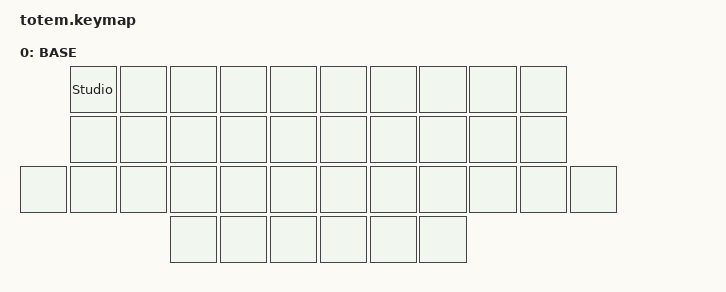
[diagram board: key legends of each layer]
// TOTEM Gallium layout — ported from RMK firmware (keymap.rs + behavior.rs)
// Home row mods (GACS), combos, mod-morphs, macro, mouse keys, caps word
// ── Mouse speed tuning ──────────────────────────────────────────────

#define MOUSE_TIME_TO_MAX_SPEED 800
#define U_MOUSE_MOVE_MAX 3000
#define U_MOUSE_SCROLL_MAX 20

// Must precede pointing.h so the defaults are overridden

#define ZMK_POINTING_DEFAULT_MOVE_VAL U_MOUSE_MOVE_MAX
#define ZMK_POINTING_DEFAULT_SCRL_VAL U_MOUSE_SCROLL_MAX

#include <behaviors.dtsi>
#include <dt-bindings/zmk/bt.h>
#include <dt-bindings/zmk/keys.h>
#include <dt-bindings/zmk/outputs.h>
#include <dt-bindings/zmk/pointing.h>

#define BASE   0
#define SYM    1
#define NAV    2
#define HYPR   3
#define BT     4
#define NUM    5
#define EXTRA  6

// Key position groups for reference:
//          0  1  2  3  4     5  6  7  8  9       <- top
//         10 11 12 13 14    15 16 17 18 19       <- home
//    20   21 22 23 24 25    26 27 28 29 30   31  <- bottom + side
//                   32 33 34    35 36 37          <- thumbs

#define KEYS_L 0 1 2 3 4 10 11 12 13 14 20 21 22 23 24 25
#define KEYS_R 5 6 7 8 9 15 16 17 18 19 26 27 28 29 30 31
#define THUMBS 32 33 34 35 36 37

// Mouse behavior tuning

&mmv { time-to-max-speed-ms = <MOUSE_TIME_TO_MAX_SPEED>; };

&msc { time-to-max-speed-ms = <MOUSE_TIME_TO_MAX_SPEED>; };

/ {
    behaviors {
        // ── Home Row Mods (left hand) ──
        // Positional: hold only triggers on right-hand keys + thumbs

        hml: home_row_mod_left {
            compatible = "zmk,behavior-hold-tap";
            #binding-cells = <2>;
            flavor = "balanced";
            tapping-term-ms = <280>;
            quick-tap-ms = <175>;
            require-prior-idle-ms = <150>;
            bindings = <&kp>, <&kp>;

            hold-trigger-key-positions = <KEYS_R THUMBS>;
            hold-trigger-on-release;
        };

        // ── Home Row Mods (right hand) ──
        // Positional: hold only triggers on left-hand keys + thumbs

        hmr: home_row_mod_right {
            compatible = "zmk,behavior-hold-tap";
            #binding-cells = <2>;
            flavor = "balanced";
            tapping-term-ms = <280>;
            quick-tap-ms = <175>;
            require-prior-idle-ms = <150>;
            bindings = <&kp>, <&kp>;

            hold-trigger-key-positions = <KEYS_L THUMBS>;
            hold-trigger-on-release;
        };

        // ── Thumb Layer-Tap ──
        // Fast activation: hold-preferred, 200ms (RMK HoldOnOtherPress)

        lt_th: layer_tap_thumb {
            compatible = "zmk,behavior-hold-tap";
            #binding-cells = <2>;
            flavor = "balanced";
            tapping-term-ms = <200>;
            quick-tap-ms = <200>;
            bindings = <&mo>, <&kp>;
        };

    };

    // ══════════════════════════════════════════════════════════════
    // Combos — 34 total
    // ══════════════════════════════════════════════════════════════

    combos {
        compatible = "zmk,combos";

        // ── Vertical combos (top + home row) ─────────────────────
        // Less prone to misfires: 80ms timeout, 150ms prior-idle

        combo_play_pause {
            timeout-ms = <80>;
            key-positions = <0 10>;
            bindings = <&kp C_PLAY_PAUSE>;
            require-prior-idle-ms = <150>;
            layers = <BASE>;
        };

        combo_at {
            timeout-ms = <80>;
            key-positions = <1 11>;
            bindings = <&kp AT>;
            require-prior-idle-ms = <150>;
            layers = <BASE>;
        };

        combo_hash {
            timeout-ms = <80>;
            key-positions = <2 12>;
            bindings = <&kp HASH>;
            require-prior-idle-ms = <150>;
            layers = <BASE>;
        };

        combo_dllr {
            timeout-ms = <80>;
            key-positions = <3 13>;
            bindings = <&kp DLLR>;
            require-prior-idle-ms = <150>;
            layers = <BASE>;
        };

        combo_prcnt {
            timeout-ms = <80>;
            key-positions = <4 14>;
            bindings = <&kp PRCNT>;
            require-prior-idle-ms = <150>;
            layers = <BASE>;
        };

        combo_caret {
            timeout-ms = <80>;
            key-positions = <5 15>;
            bindings = <&kp CARET>;
            require-prior-idle-ms = <150>;
            layers = <BASE>;
        };

        combo_plus {
            timeout-ms = <80>;
            key-positions = <6 16>;
            bindings = <&kp PLUS>;
            require-prior-idle-ms = <150>;
            layers = <BASE>;
        };

        combo_star {
            timeout-ms = <80>;
            key-positions = <7 17>;
            bindings = <&kp STAR>;
            require-prior-idle-ms = <150>;
            layers = <BASE>;
        };

        combo_amps {
            timeout-ms = <80>;
            key-positions = <8 18>;
            bindings = <&kp AMPS>;
            require-prior-idle-ms = <150>;
            layers = <BASE>;
        };

        combo_vol_up {
            timeout-ms = <80>;
            key-positions = <9 19>;
            bindings = <&kp C_VOL_UP>;
            require-prior-idle-ms = <150>;
            layers = <BASE>;
        };

        // ── Vertical combos (home + bottom row) ──────────────────

        combo_mute {
            timeout-ms = <80>;
            key-positions = <10 21>;
            bindings = <&kp K_MUTE>;
            require-prior-idle-ms = <150>;
            layers = <BASE>;
        };

        combo_grave {
            timeout-ms = <80>;
            key-positions = <11 22>;
            bindings = <&kp GRAVE>;
            require-prior-idle-ms = <150>;
            layers = <BASE>;
        };

        combo_bslh {
            timeout-ms = <80>;
            key-positions = <12 23>;
            bindings = <&kp BSLH>;
            require-prior-idle-ms = <150>;
            layers = <BASE>;
        };

        combo_equal {
            timeout-ms = <80>;
            key-positions = <13 24>;
            bindings = <&kp EQUAL>;
            require-prior-idle-ms = <150>;
            layers = <BASE>;
        };

        combo_tilde {
            timeout-ms = <80>;
            key-positions = <14 25>;
            bindings = <&kp TILDE>;
            require-prior-idle-ms = <150>;
            layers = <BASE>;
        };

        combo_under {
            timeout-ms = <80>;
            key-positions = <15 26>;
            bindings = <&kp UNDER>;
            require-prior-idle-ms = <150>;
            layers = <BASE>;
        };

        combo_minus {
            timeout-ms = <80>;
            key-positions = <16 27>;
            bindings = <&kp MINUS>;
            require-prior-idle-ms = <150>;
            layers = <BASE>;
        };

        combo_fslh {
            timeout-ms = <80>;
            key-positions = <17 28>;
            bindings = <&kp FSLH>;
            require-prior-idle-ms = <150>;
            layers = <BASE>;
        };

        combo_pipe {
            timeout-ms = <80>;
            key-positions = <18 29>;
            bindings = <&kp PIPE>;
            require-prior-idle-ms = <150>;
            layers = <BASE>;
        };

        combo_vol_dn {
            timeout-ms = <80>;
            key-positions = <19 30>;
            bindings = <&kp C_VOL_DN>;
            require-prior-idle-ms = <150>;
            layers = <BASE>;
        };

        // ── Horizontal combos (same row, adjacent) ───────────────
        // Tight timing to prevent misfires during fast typing:
        // 40ms timeout + 280ms prior-idle
        // Top row

        combo_lbkt {
            timeout-ms = <40>;
            key-positions = <6 7>;
            bindings = <&kp LBKT>;
            require-prior-idle-ms = <280>;
            layers = <BASE>;
        };

        combo_rbkt {
            timeout-ms = <40>;
            key-positions = <7 8>;
            bindings = <&kp RBKT>;
            require-prior-idle-ms = <280>;
            layers = <BASE>;
        };

        // Home row

        combo_lt {
            timeout-ms = <40>;
            key-positions = <15 16>;
            bindings = <&kp LT>;
            require-prior-idle-ms = <280>;
            layers = <BASE>;
        };

        combo_lpar {
            timeout-ms = <40>;
            key-positions = <16 17>;
            bindings = <&kp LPAR>;
            require-prior-idle-ms = <280>;
            layers = <BASE>;
        };

        combo_rpar {
            timeout-ms = <40>;
            key-positions = <17 18>;
            bindings = <&kp RPAR>;
            require-prior-idle-ms = <280>;
            layers = <BASE>;
        };

        combo_gt {
            timeout-ms = <40>;
            key-positions = <18 19>;
            bindings = <&kp GT>;
            require-prior-idle-ms = <280>;
            layers = <BASE>;
        };

        // Bottom row

        combo_copy {
            timeout-ms = <40>;
            key-positions = <22 23>;
            bindings = <&kp LC(C)>;
            require-prior-idle-ms = <280>;
            layers = <BASE>;
        };

        combo_paste {
            timeout-ms = <40>;
            key-positions = <23 24>;
            bindings = <&kp LC(V)>;
            require-prior-idle-ms = <280>;
            layers = <BASE>;
        };

        combo_cut {
            timeout-ms = <40>;
            key-positions = <22 24>;
            bindings = <&kp LC(X)>;
            require-prior-idle-ms = <280>;
            layers = <BASE>;
        };

        combo_lbrc {
            timeout-ms = <40>;
            key-positions = <27 28>;
            bindings = <&kp LBRC>;
            require-prior-idle-ms = <280>;
            layers = <BASE>;
        };

        combo_rbrc {
            timeout-ms = <40>;
            key-positions = <28 29>;
            bindings = <&kp RBRC>;
            require-prior-idle-ms = <280>;
            layers = <BASE>;
        };

        // ── Multi-key / special combos ───────────────────────────

        combo_tab {
            timeout-ms = <50>;
            key-positions = <11 12 13>;
            bindings = <&kp TAB>;
            require-prior-idle-ms = <200>;
            layers = <BASE>;
        };

        combo_caps_word {
            timeout-ms = <80>;
            key-positions = <13 16>;
            bindings = <&caps_word>;
            require-prior-idle-ms = <150>;
            layers = <BASE>;
        };

        combo_studio_unlock {
            timeout-ms = <80>;
            key-positions = <32 37>;
            bindings = <&studio_unlock>;
            require-prior-idle-ms = <150>;
        };

        combo_lshift {
            bindings = <&kp LEFT_SHIFT>;
            key-positions = <32 33>;
        };

        combo_rshift {
            bindings = <&kp RIGHT_SHIFT>;
            key-positions = <36 37>;
        };
    };

    // ══════════════════════════════════════════════════════════════
    // Keymap — 6 layers
    // ══════════════════════════════════════════════════════════════

    keymap {
        compatible = "zmk,keymap";

        base_layer {
            display-name = "BASE";
            bindings = <
                &studio_unlock &none &none &none &none    &none &none &none &none &none
                &none &none &none &none &none    &none &none &none &none &none
                &none &none &none &none &none &none    &none &none &none &none &none &none
                              &none &none &none    &none &none &none
            >;
        };

        sym_layer {
            display-name = "SYM";
            status = "reserved";
        };

        nav_layer {
            display-name = "NAV";
            status = "reserved";
        };

        hypr_layer {
            display-name = "HYPR";
            status = "reserved";
        };

        bt_layer {
            display-name = "BT";
            status = "reserved";
        };

        num_layer {
            display-name = "NUM";
            status = "reserved";
        };

        extra_layer {
            display-name = "EXTRA";
            status = "reserved";
        };
    };
};
